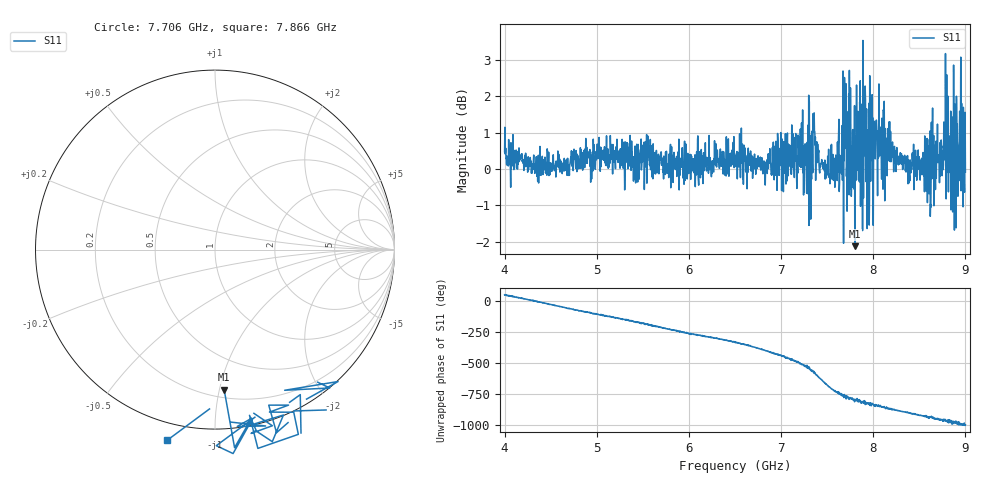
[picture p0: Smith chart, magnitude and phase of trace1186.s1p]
! Created with skrf 1.8.0 (http://scikit-rf.org).
# Hz S RI R 50.0
!freq ReS11 ImS11
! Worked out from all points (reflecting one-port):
!   1601 points, 4 GHz to 9 GHz, reference 50 ohm
!   lowest |S11| = -2.1 dB at 7.8 GHz (marker M1), VSWR 8.21, Z = 12.8 - j51.7 ohm
!   phase of S11 starts at 50 deg and turns -1051 deg over the sweep
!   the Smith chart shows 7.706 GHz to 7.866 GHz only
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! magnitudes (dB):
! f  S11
! 4 GHz  0.5
! 4.625 GHz  -0.1
! 5.25 GHz  0.1
! 5.875 GHz  0.2
! 6.5 GHz  0.4
! 6.825 GHz  0.1
! 7.125 GHz  0.5
! 7.209 GHz  1.1
! 7.297 GHz  -0.7
! 7.372 GHz  0.9
! 7.4 GHz  0.4
! 7.512 GHz  -0.2
! 7.656 GHz  -0.1
! 7.681 GHz  1.2
! 7.75 GHz  -0.5
! 7.8 GHz  -2.1
! 7.844 GHz  1.1
! 7.956 GHz  -1.5
! 7.962 GHz  2.6
! 8.097 GHz  1.0
! 8.375 GHz  0.0
! 8.612 GHz  0.5
! 8.656 GHz  0.9
! 8.738 GHz  0.8
! 8.788 GHz  -0.4
! 8.856 GHz  -0.2
! 8.956 GHz  0.0
! 9 GHz  -0.1
